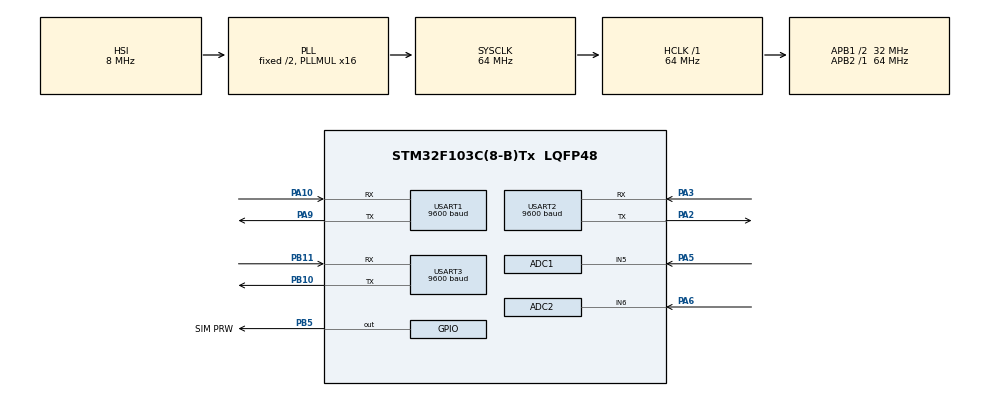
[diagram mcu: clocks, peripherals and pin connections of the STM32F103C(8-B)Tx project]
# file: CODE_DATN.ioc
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ADC1.Channel-0\#ChannelRegularConversion=ADC_CHANNEL_5
ADC1.ContinuousConvMode=ENABLE
ADC1.NbrOfConversion=1
ADC1.NbrOfConversionFlag=1
ADC1.Rank-0\#ChannelRegularConversion=1
ADC1.SamplingTime-0\#ChannelRegularConversion=ADC_SAMPLETIME_239CYCLES_5
ADC1.master=1
ADC2.Channel-0\#ChannelRegularConversion=ADC_CHANNEL_6
ADC2.ContinuousConvMode=ENABLE
ADC2.NbrOfConversionFlag=1
ADC2.Rank-0\#ChannelRegularConversion=1
ADC2.SamplingTime-0\#ChannelRegularConversion=ADC_SAMPLETIME_239CYCLES_5
Mcu.Family=STM32F1
Mcu.Name=STM32F103C(8-B)Tx
Mcu.Package=LQFP48
NVIC.PriorityGroup=NVIC_PRIORITYGROUP_4
NVIC.USART2_IRQn=true\:1\:0\:true\:false\:true\:true\:true\:true
NVIC.USART3_IRQn=true\:2\:0\:true\:false\:true\:true\:true\:true
PA10.Mode=Asynchronous
PA10.Signal=USART1_RX
PA13.Mode=Serial_Wire
PA13.Signal=SYS_JTMS-SWDIO
PA14.Mode=Serial_Wire
PA14.Signal=SYS_JTCK-SWCLK
PA2.Mode=Asynchronous
PA2.Signal=USART2_TX
PA3.Mode=Asynchronous
PA3.Signal=USART2_RX
PA5.Signal=ADCx_IN5
PA6.Signal=ADCx_IN6
PA9.Mode=Asynchronous
PA9.Signal=USART1_TX
PB10.Mode=Asynchronous
PB10.Signal=USART3_TX
PB11.Mode=Asynchronous
PB11.Signal=USART3_RX
PB5.GPIO_Label=SIM PRW
PB5.Signal=GPIO_Output
PD0-OSC_IN.Mode=HSE-External-Oscillator
PD0-OSC_IN.Signal=RCC_OSC_IN
PD1-OSC_OUT.Mode=HSE-External-Oscillator
PD1-OSC_OUT.Signal=RCC_OSC_OUT
ProjectManager.HeapSize=0x200
ProjectManager.StackSize=0x400
ProjectManager.TargetToolchain=MDK-ARM V5.32
RCC.ADCPresc=RCC_ADCPCLK2_DIV6
RCC.AHBFreq_Value=64000000
RCC.APB1CLKDivider=RCC_HCLK_DIV2
RCC.APB1Freq_Value=32000000
RCC.APB1TimFreq_Value=64000000
RCC.APB2Freq_Value=64000000
RCC.APB2TimFreq_Value=64000000
RCC.HCLKFreq_Value=64000000
RCC.PLLMUL=RCC_PLL_MUL16
RCC.SYSCLKFreq_VALUE=64000000
RCC.SYSCLKSource=RCC_SYSCLKSOURCE_PLLCLK
RCC.USBFreq_Value=64000000
SH.ADCx_IN5.0=ADC1_IN5,IN5
SH.ADCx_IN6.0=ADC2_IN6,IN6
USART1.BaudRate=9600
USART1.VirtualMode=VM_ASYNC
USART2.BaudRate=9600
USART2.VirtualMode=VM_ASYNC
USART3.BaudRate=9600
USART3.VirtualMode=VM_ASYNC
board=custom

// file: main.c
/* USER CODE BEGIN Header */
/**
  ******************************************************************************
  * @file           : main.c
  * @brief          : Main program body
  ******************************************************************************
  * @attention
  *
  * Copyright (c) 2024 STMicroelectronics.
  * All rights reserved.
  *
  * This software is licensed under terms that can be found in the LICENSE file
  * in the root directory of this software component.
  * If no LICENSE file comes with this software, it is provided AS-IS.
  *
  ******************************************************************************
  */
/* USER CODE END Header */
#include "main.h"

/* USER CODE BEGIN Includes */
#include "stdio.h"
#include <math.h>
#include <string.h>

/* USER CODE END Includes */

/* USER CODE BEGIN PD */
#define V_CC 5
#define RO 2.12
#define RL 10
/* USER CODE END PD */

ADC_HandleTypeDef hadc1;
ADC_HandleTypeDef hadc2;

UART_HandleTypeDef huart1;
UART_HandleTypeDef huart2;
UART_HandleTypeDef huart3;

/* USER CODE BEGIN PV */
uint8_t state=0;
volatile uint8_t uartDataReceived = 0;
volatile uint8_t adcConversionComplete = 0;
uint8_t Rx_dataDust[32];
uint8_t PmsTransfer_cplt = 0;
uint8_t inFrame = 0;
uint8_t detectOff = 0;
unsigned char Buff_Sensor[32];
uint8_t txData[12];
uint8_t frameLen;
char message[20];
static uint32_t PM1_0_temp;
static uint32_t PM2_5_temp;
static uint32_t PM10_0_temp;

uint16_t var,dem=0;
double volts,first;
uint16_t peak=0;
uint16_t max=0;
uint16_t min=4096;

char buffer1[50];
char sound_char[20];
float sound_level,value,sum,TB;
uint16_t adc[2];
float RS;
float CO=0;
	float CO_ppm (uint16_t adc_value)
{
	float VRL = adc_value * (V_CC / 4096.0);
	float RS = ((V_CC / VRL)-1)*RL;
	float ratio = RS/RO;
	float ppm = pow ((19.709/ratio), (1/0.652));
	return ppm;
}
 float MAX4466 ( uint16_t var)
 {
							if (var < 4096)
							{
								if (var > max)
								{
									max = var;
								}
								else if (var < min)
								{
									min = var;
								}
							}
							peak = max - min;
					volts=((peak*3.3)/4096)*0.707;
					first=log10(volts/0.00631)*20;
					return sound_level=first+1.;
					max=0;
					min=4096;
 }
/* USER CODE END PV */

void SystemClock_Config(void);
static void MX_GPIO_Init(void);
static void MX_ADC1_Init(void);
static void MX_USART1_UART_Init(void);
static void MX_USART2_UART_Init(void);
static void MX_USART3_UART_Init(void);
static void MX_ADC2_Init(void);

/* USER CODE BEGIN 0 */

typedef struct {
    uint16_t PM1;
    uint16_t PM2_5;
    uint16_t PM10_0;
	uint16_t CO;
	uint16_t Sound;
} SensorValues_t;
SensorValues_t ValueSensor_t;

void HAL_UART_RxCpltCallback(UART_HandleTypeDef *huart)
{
    //-Interrupt-Function-for-Read-DUST-Data-------------------------------------------------------------------//
    if (huart->Instance == USART2)
    {

      HAL_UART_Receive_IT(&huart2, (uint8_t *)Rx_dataDust, 1);

        if (inFrame == 0)
        {
            if (Rx_dataDust[0] == 0x42 && detectOff == 0)
            {
                Buff_Sensor[detectOff] = Rx_dataDust[0];
                detectOff++;
            }
            else if (Rx_dataDust[0] == 0x4D && detectOff == 1)
            {
                Buff_Sensor[detectOff] = Rx_dataDust[0];
                inFrame = 1;
                detectOff++;
            }
        }
        else
        {
            Buff_Sensor[detectOff] = Rx_dataDust[0];
            detectOff++;
            frameLen = Buff_Sensor[3] + (Buff_Sensor[2] << 8) + 4;
            if (detectOff >= frameLen)
            {
                PmsTransfer_cplt = 1;
            }
        }

    }
}

int CheckSumFuncDust(unsigned char *buf)
{

    int checkSum = (buf[30] << 8) + buf[31];
    int sum = 0x42;
    for (int i = 1; i < 30; i++)
    {
        sum = sum + buf[i];
    }
    return sum == checkSum;
}

void getPMS7003_Value()
{
		ValueSensor_t.PM1    = 0;
		ValueSensor_t.PM2_5  = 0;
		ValueSensor_t.PM10_0 = 0;
    if (PmsTransfer_cplt == 1)
    {
        if (CheckSumFuncDust(Buff_Sensor))
        {
            // Extract and process data here
						PM1_0_temp 	= Buff_Sensor[11]+(Buff_Sensor[10]<<8);
						PM2_5_temp	= Buff_Sensor[13]+(Buff_Sensor[12]<<8);
						PM10_0_temp 	= Buff_Sensor[15]+(Buff_Sensor[14]<<8);
						detectOff = 0;
						inFrame = 0;
						PmsTransfer_cplt =0;
						ValueSensor_t.PM1 		=	PM1_0_temp;
						ValueSensor_t.PM2_5		=	PM2_5_temp;
						ValueSensor_t.PM10_0	= PM10_0_temp;

//				char buffer[50];
//				sprintf(buffer, "PM1: %u, PM2.5: %u, PM10: %u\n", PM1_0_temp, PM2_5_temp, PM10_0_temp);
//				HAL_UART_Transmit(&huart3, (uint8_t *)buffer, strlen(buffer), HAL_MAX_DELAY);

        }

    }
}

void getADC_Value()
{
	HAL_ADC_Start(&hadc1);
	sound_level = MAX4466(HAL_ADC_GetValue(&hadc1));
	HAL_ADC_Stop(&hadc1);
	HAL_Delay(1000);

	HAL_ADC_Start(&hadc2);
	CO = CO_ppm(HAL_ADC_GetValue(&hadc2));
	HAL_ADC_Stop(&hadc2);
	HAL_Delay(1000);

	ValueSensor_t.CO	= CO;
	ValueSensor_t.Sound	= sound_level;
//	char buffer1[50];
//	sprintf(buffer1, "CO: %.2f, Sound: %.2f\n", CO, sound_level);
//	HAL_UART_Transmit(&huart3, (uint8_t *)buffer1, strlen(buffer1), HAL_MAX_DELAY);
}

void sendData()
{

//	}
				char buffer[50];
				//sprintf(buffer, "PM1: %u, PM2.5: %u, PM10: %u\n", ValueSensor_t.PM1, ValueSensor_t.PM2_5, ValueSensor_t.PM10_0);
				//sprintf(buffer, "C0: %u, Sound: %u\n", ValueSensor_t.CO, ValueSensor_t.Sound);
			//	sprintf(buffer, "CO: %u, Sound: %u, PM1: %u, PM2.5: %u, PM10: %u\n", ValueSensor_t.CO, ValueSensor_t.Sound, ValueSensor_t.PM1, ValueSensor_t.PM2_5, ValueSensor_t.PM10_0);
			//	HAL_UART_Transmit(&huart3, (uint8_t *)buffer, strlen(buffer), HAL_MAX_DELAY);
//					char buffer[50];
				sprintf(buffer, "PM1: %u, PM2.5: %u, PM10: %u\n", ValueSensor_t.PM1, ValueSensor_t.PM2_5, ValueSensor_t.PM10_0);
				HAL_UART_Transmit(&huart3, (uint8_t *)buffer, strlen(buffer), HAL_MAX_DELAY);
}
/* USER CODE END 0 */

int main(void)
{

  /* MCU Configuration--------------------------------------------------------*/

  /* Reset of all peripherals, Initializes the Flash interface and the Systick. */
  HAL_Init();

  /* Configure the system clock */
  SystemClock_Config();

  /* Initialize all configured peripherals */
  MX_GPIO_Init();
  MX_ADC1_Init();
  MX_USART1_UART_Init();
  MX_USART2_UART_Init();
  MX_USART3_UART_Init();
  MX_ADC2_Init();
  /* USER CODE BEGIN 2 */
  HAL_UART_Receive_IT(&huart2, (uint8_t *)Rx_dataDust, 1);

  /* USER CODE END 2 */

  /* Infinite loop */
  while (1)
  {

    /* USER CODE BEGIN 3 */
						getPMS7003_Value();
					//getADC_Value();
						sendData();
						HAL_Delay(1000);
			}

  /* USER CODE END 3 */
}

void SystemClock_Config(void)
{
  RCC_OscInitTypeDef RCC_OscInitStruct = {0};
  RCC_ClkInitTypeDef RCC_ClkInitStruct = {0};
  RCC_PeriphCLKInitTypeDef PeriphClkInit = {0};

  /** Initializes the RCC Oscillators according to the specified parameters
  * in the RCC_OscInitTypeDef structure.
  */
  RCC_OscInitStruct.OscillatorType = RCC_OSCILLATORTYPE_HSI;
  RCC_OscInitStruct.HSIState = RCC_HSI_ON;
  RCC_OscInitStruct.HSICalibrationValue = RCC_HSICALIBRATION_DEFAULT;
  RCC_OscInitStruct.PLL.PLLState = RCC_PLL_ON;
  RCC_OscInitStruct.PLL.PLLSource = RCC_PLLSOURCE_HSI_DIV2;
  RCC_OscInitStruct.PLL.PLLMUL = RCC_PLL_MUL16;
  if (HAL_RCC_OscConfig(&RCC_OscInitStruct) != HAL_OK)
  {
    Error_Handler();
  }

  /** Initializes the CPU, AHB and APB buses clocks
  */
  RCC_ClkInitStruct.ClockType = RCC_CLOCKTYPE_HCLK|RCC_CLOCKTYPE_SYSCLK
                              |RCC_CLOCKTYPE_PCLK1|RCC_CLOCKTYPE_PCLK2;
  RCC_ClkInitStruct.SYSCLKSource = RCC_SYSCLKSOURCE_PLLCLK;
  RCC_ClkInitStruct.AHBCLKDivider = RCC_SYSCLK_DIV1;
  RCC_ClkInitStruct.APB1CLKDivider = RCC_HCLK_DIV2;
  RCC_ClkInitStruct.APB2CLKDivider = RCC_HCLK_DIV1;

  if (HAL_RCC_ClockConfig(&RCC_ClkInitStruct, FLASH_LATENCY_2) != HAL_OK)
  {
    Error_Handler();
  }
  PeriphClkInit.PeriphClockSelection = RCC_PERIPHCLK_ADC;
  PeriphClkInit.AdcClockSelection = RCC_ADCPCLK2_DIV6;
  if (HAL_RCCEx_PeriphCLKConfig(&PeriphClkInit) != HAL_OK)
  {
    Error_Handler();
  }
}

static void MX_ADC1_Init(void)
{

  ADC_ChannelConfTypeDef sConfig = {0};

  /** Common config
  */
  hadc1.Instance = ADC1;
  hadc1.Init.ScanConvMode = ADC_SCAN_DISABLE;
  hadc1.Init.ContinuousConvMode = ENABLE;
  hadc1.Init.DiscontinuousConvMode = DISABLE;
  hadc1.Init.ExternalTrigConv = ADC_SOFTWARE_START;
  hadc1.Init.DataAlign = ADC_DATAALIGN_RIGHT;
  hadc1.Init.NbrOfConversion = 1;
  if (HAL_ADC_Init(&hadc1) != HAL_OK)
  {
    Error_Handler();
  }

  /** Configure Regular Channel
  */
  sConfig.Channel = ADC_CHANNEL_5;
  sConfig.Rank = ADC_REGULAR_RANK_1;
  sConfig.SamplingTime = ADC_SAMPLETIME_239CYCLES_5;
  if (HAL_ADC_ConfigChannel(&hadc1, &sConfig) != HAL_OK)
  {
    Error_Handler();
  }

}

static void MX_ADC2_Init(void)
{

  ADC_ChannelConfTypeDef sConfig = {0};

  /** Common config
  */
  hadc2.Instance = ADC2;
  hadc2.Init.ScanConvMode = ADC_SCAN_DISABLE;
  hadc2.Init.ContinuousConvMode = ENABLE;
  hadc2.Init.DiscontinuousConvMode = DISABLE;
  hadc2.Init.ExternalTrigConv = ADC_SOFTWARE_START;
  hadc2.Init.DataAlign = ADC_DATAALIGN_RIGHT;
  hadc2.Init.NbrOfConversion = 1;
  if (HAL_ADC_Init(&hadc2) != HAL_OK)
  {
    Error_Handler();
  }

  /** Configure Regular Channel
  */
  sConfig.Channel = ADC_CHANNEL_6;
  sConfig.Rank = ADC_REGULAR_RANK_1;
  sConfig.SamplingTime = ADC_SAMPLETIME_239CYCLES_5;
  if (HAL_ADC_ConfigChannel(&hadc2, &sConfig) != HAL_OK)
  {
    Error_Handler();
  }

}

static void MX_USART1_UART_Init(void)
{

  huart1.Instance = USART1;
  huart1.Init.BaudRate = 9600;
  huart1.Init.WordLength = UART_WORDLENGTH_8B;
  huart1.Init.StopBits = UART_STOPBITS_1;
  huart1.Init.Parity = UART_PARITY_NONE;
  huart1.Init.Mode = UART_MODE_TX_RX;
  huart1.Init.HwFlowCtl = UART_HWCONTROL_NONE;
  huart1.Init.OverSampling = UART_OVERSAMPLING_16;
  if (HAL_UART_Init(&huart1) != HAL_OK)
  {
    Error_Handler();
  }

}

static void MX_USART2_UART_Init(void)
{

  huart2.Instance = USART2;
  huart2.Init.BaudRate = 9600;
  huart2.Init.WordLength = UART_WORDLENGTH_8B;
  huart2.Init.StopBits = UART_STOPBITS_1;
  huart2.Init.Parity = UART_PARITY_NONE;
  huart2.Init.Mode = UART_MODE_TX_RX;
  huart2.Init.HwFlowCtl = UART_HWCONTROL_NONE;
  huart2.Init.OverSampling = UART_OVERSAMPLING_16;
  if (HAL_UART_Init(&huart2) != HAL_OK)
  {
    Error_Handler();
  }

}

static void MX_USART3_UART_Init(void)
{

  huart3.Instance = USART3;
  huart3.Init.BaudRate = 9600;
  huart3.Init.WordLength = UART_WORDLENGTH_8B;
  huart3.Init.StopBits = UART_STOPBITS_1;
  huart3.Init.Parity = UART_PARITY_NONE;
  huart3.Init.Mode = UART_MODE_TX_RX;
  huart3.Init.HwFlowCtl = UART_HWCONTROL_NONE;
  huart3.Init.OverSampling = UART_OVERSAMPLING_16;
  if (HAL_UART_Init(&huart3) != HAL_OK)
  {
    Error_Handler();
  }

}

static void MX_GPIO_Init(void)
{
  GPIO_InitTypeDef GPIO_InitStruct = {0};

  /* GPIO Ports Clock Enable */
  __HAL_RCC_GPIOD_CLK_ENABLE();
  __HAL_RCC_GPIOA_CLK_ENABLE();
  __HAL_RCC_GPIOB_CLK_ENABLE();

  /*Configure GPIO pin Output Level */
  HAL_GPIO_WritePin(SIM_PRW_GPIO_Port, SIM_PRW_Pin, GPIO_PIN_RESET);

  /*Configure GPIO pin : SIM_PRW_Pin */
  GPIO_InitStruct.Pin = SIM_PRW_Pin;
  GPIO_InitStruct.Mode = GPIO_MODE_OUTPUT_PP;
  GPIO_InitStruct.Pull = GPIO_NOPULL;
  GPIO_InitStruct.Speed = GPIO_SPEED_FREQ_LOW;
  HAL_GPIO_Init(SIM_PRW_GPIO_Port, &GPIO_InitStruct);

}

void Error_Handler(void)
{
  __disable_irq();
  while (1)
  {
  }
}
